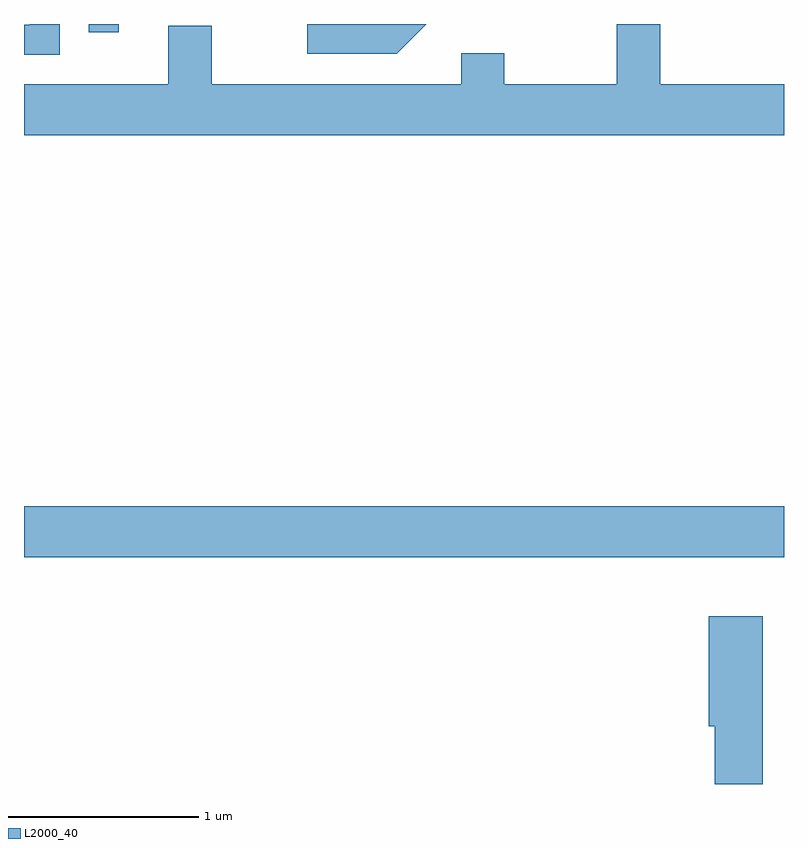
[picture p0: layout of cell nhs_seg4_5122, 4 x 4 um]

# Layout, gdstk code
import gdstk
lib = gdstk.Library(unit=1e-6, precision=1e-09)
def R(c, l, rs):  # rectangles x0, y0, x1, y1
    for r in rs: c.add(gdstk.rectangle(r[:2], r[2:], *l))
def P(c, l, *ps):  # polygons
    for p in ps: c.add(gdstk.Polygon(p, *l))
L2000_40 = (2000, 40)

nhs_seg4_5122 = lib.new_cell('nhs_seg4_5122')
R(nhs_seg4_5122, L2000_40, [(335.611,1299.176,339.611,1299.444), (335.951,1301.938,336.109,1301.982)])
P(nhs_seg4_5122, L2000_40, [(339.611,1301.664),(338.959,1301.664),(338.959,1301.982),(338.731,1301.982),(338.731,1301.664),(338.139,1301.664),(338.139,1301.829),(337.911,1301.829),(337.911,1301.664),(336.599,1301.664),(336.599,1301.974),(336.371,1301.974),(336.371,1301.664),(335.611,1301.664),(335.611,1301.396),(339.611,1301.396)],
  [(335.799,1301.982),(335.641,1301.982),(335.641,1301.979),(335.611,1301.979),(335.611,1301.821),(335.799,1301.821)],
  [(337.727,1301.982),(337.103,1301.982),(337.103,1301.826),(337.572,1301.826)],
  [(339.499,1298.864),(339.216,1298.864),(339.216,1298.286),(339.246,1298.286),(339.246,1297.982),(339.499,1297.982)])

lib.write_gds('nhs_seg4_5122.gds')
